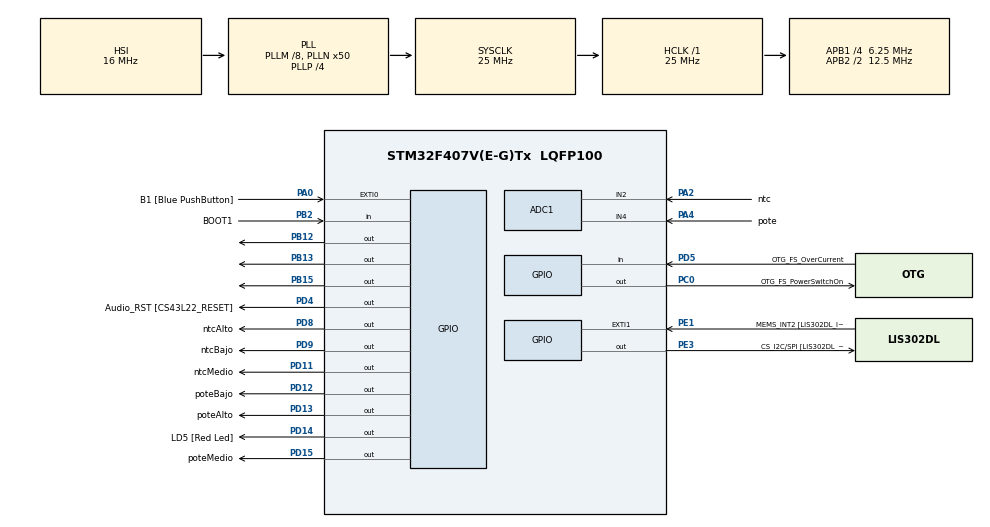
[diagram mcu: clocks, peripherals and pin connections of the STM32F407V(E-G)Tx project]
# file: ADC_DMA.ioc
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ADC1.Channel-0\#ChannelRegularConversion=ADC_CHANNEL_2
ADC1.Channel-1\#ChannelRegularConversion=ADC_CHANNEL_4
ADC1.ClockPrescaler=ADC_CLOCK_SYNC_PCLK_DIV8
ADC1.ContinuousConvMode=ENABLE
ADC1.DMAContinuousRequests=ENABLE
ADC1.EOCSelection=ADC_EOC_SEQ_CONV
ADC1.NbrOfConversion=2
ADC1.NbrOfConversionFlag=1
ADC1.Rank-0\#ChannelRegularConversion=1
ADC1.Rank-1\#ChannelRegularConversion=2
ADC1.SamplingTime-0\#ChannelRegularConversion=ADC_SAMPLETIME_112CYCLES
ADC1.SamplingTime-1\#ChannelRegularConversion=ADC_SAMPLETIME_112CYCLES
ADC1.ScanConvMode=ENABLE
ADC1.master=1
Dma.ADC1.0.Direction=DMA_PERIPH_TO_MEMORY
Dma.ADC1.0.FIFOMode=DMA_FIFOMODE_DISABLE
Dma.ADC1.0.Instance=DMA2_Stream0
Dma.ADC1.0.MemDataAlignment=DMA_MDATAALIGN_HALFWORD
Dma.ADC1.0.MemInc=DMA_MINC_ENABLE
Dma.ADC1.0.Mode=DMA_CIRCULAR
Dma.ADC1.0.PeriphDataAlignment=DMA_PDATAALIGN_HALFWORD
Dma.ADC1.0.PeriphInc=DMA_PINC_DISABLE
Dma.ADC1.0.Priority=DMA_PRIORITY_LOW
Dma.Request0=ADC1
Mcu.Family=STM32F4
Mcu.Name=STM32F407V(E-G)Tx
Mcu.Package=LQFP100
NVIC.DMA2_Stream0_IRQn=true\:0\:0\:false\:false\:true\:false\:true\:true
NVIC.PriorityGroup=NVIC_PRIORITYGROUP_4
PA0-WKUP.GPIO_Label=B1 [Blue PushButton]
PA0-WKUP.Signal=GPXTI0
PA10.GPIO_Label=OTG_FS_ID
PA10.GPIO_Mode=GPIO_MODE_AF_PP
PA10.GPIO_PuPd=GPIO_NOPULL
PA10.GPIO_Speed=GPIO_SPEED_FREQ_LOW
PA10.Signal=USB_OTG_FS_ID
PA11.GPIO_Label=OTG_FS_DM
PA11.GPIO_Mode=GPIO_MODE_AF_PP
PA11.GPIO_PuPd=GPIO_NOPULL
PA11.GPIO_Speed=GPIO_SPEED_FREQ_LOW
PA11.Signal=USB_OTG_FS_DM
PA12.GPIO_Label=OTG_FS_DP
PA12.GPIO_Mode=GPIO_MODE_AF_PP
PA12.GPIO_PuPd=GPIO_NOPULL
PA12.GPIO_Speed=GPIO_SPEED_FREQ_LOW
PA12.Signal=USB_OTG_FS_DP
PA13.GPIO_Label=SWDIO
PA13.Signal=SYS_JTMS-SWDIO
PA14.GPIO_Label=SWCLK
PA14.Signal=SYS_JTCK-SWCLK
PA2.GPIO_Label=ntc
PA2.Signal=ADCx_IN2
PA4.GPIO_Label=pote
PA4.Signal=ADCx_IN4
PA5.GPIO_Label=SPI1_SCK [LIS302DL_SCL/SPC]
PA5.GPIO_Mode=GPIO_MODE_AF_PP
PA5.GPIO_PuPd=GPIO_NOPULL
PA5.GPIO_Speed=GPIO_SPEED_FREQ_LOW
PA5.Signal=SPI1_SCK
PA6.GPIO_Label=SPI1_MISO [LIS302DL_SDO]
PA6.GPIO_Mode=GPIO_MODE_AF_PP
PA6.GPIO_PuPd=GPIO_NOPULL
PA6.GPIO_Speed=GPIO_SPEED_FREQ_LOW
PA6.Signal=SPI1_MISO
PA7.GPIO_Label=SPI1_MOSI [LIS302DL_SDA/SDI/SDO]
PA7.GPIO_Mode=GPIO_MODE_AF_PP
PA7.GPIO_PuPd=GPIO_NOPULL
PA7.GPIO_Speed=GPIO_SPEED_FREQ_LOW
PA7.Signal=SPI1_MOSI
PA9.GPIO_Label=VBUS_FS
PA9.GPIO_Mode=GPIO_MODE_INPUT
PA9.GPIO_PuPd=GPIO_NOPULL
PA9.Signal=USB_OTG_FS_VBUS
PB10.GPIO_Label=CLK_IN [MP45DT02_CLK]
PB10.GPIO_Mode=GPIO_MODE_AF_PP
PB10.GPIO_PuPd=GPIO_NOPULL
PB10.GPIO_Speed=GPIO_SPEED_FREQ_LOW
PB10.Signal=I2S2_CK
PB12.Signal=GPIO_Output
PB13.Signal=GPIO_Output
PB15.Signal=GPIO_Output
PB2.GPIO_Label=BOOT1
PB2.GPIO_Mode=GPIO_MODE_INPUT
PB2.GPIO_PuPd=GPIO_NOPULL
PB2.Signal=GPIO_Input
PB3.GPIO_Label=SWO
PB3.Signal=SYS_JTDO-SWO
PB6.GPIO_Label=Audio_SCL [CS43L22_SCL]
PB6.GPIO_Mode=GPIO_MODE_AF_OD
PB6.GPIO_PuPd=GPIO_NOPULL
PB6.GPIO_Speed=GPIO_SPEED_FREQ_LOW
PB6.Signal=I2C1_SCL
PB9.GPIO_Label=Audio_SDA [CS43L22_SDA]
PB9.GPIO_Mode=GPIO_MODE_AF_OD
PB9.GPIO_PuPd=GPIO_NOPULL
PB9.GPIO_Speed=GPIO_SPEED_FREQ_LOW
PB9.Signal=I2C1_SDA
PC0.GPIO_Label=OTG_FS_PowerSwitchOn
PC0.GPIO_PuPd=GPIO_NOPULL
PC0.GPIO_Speed=GPIO_SPEED_FREQ_LOW
PC0.PinState=GPIO_PIN_SET
PC0.Signal=GPIO_Output
PC10.GPIO_Label=I2S3_SCK [CS43L22_SCLK]
PC10.GPIO_Mode=GPIO_MODE_AF_PP
PC10.GPIO_PuPd=GPIO_NOPULL
PC10.GPIO_Speed=GPIO_SPEED_FREQ_LOW
PC10.Signal=I2S3_CK
PC12.GPIO_Label=I2S3_SD [CS43L22_SDIN]
PC12.GPIO_Mode=GPIO_MODE_AF_PP
PC12.GPIO_PuPd=GPIO_NOPULL
PC12.GPIO_Speed=GPIO_SPEED_FREQ_LOW
PC12.Signal=I2S3_SD
PC14-OSC32_IN.GPIO_Label=PC14-OSC32_IN
PC14-OSC32_IN.Signal=RCC_OSC32_IN
PC15-OSC32_OUT.GPIO_Label=PC15-OSC32_OUT
PC15-OSC32_OUT.Signal=RCC_OSC32_OUT
PC3.GPIO_Label=PDM_OUT [MP45DT02_DOUT]
PC3.GPIO_Mode=GPIO_MODE_AF_PP
PC3.GPIO_PuPd=GPIO_NOPULL
PC3.GPIO_Speed=GPIO_SPEED_FREQ_LOW
PC3.Signal=I2S2_SD
PC7.GPIO_Label=I2S3_MCK [CS43L22_MCLK]
PC7.GPIO_Mode=GPIO_MODE_AF_PP
PC7.GPIO_PuPd=GPIO_NOPULL
PC7.GPIO_Speed=GPIO_SPEED_FREQ_LOW
PC7.Signal=I2S3_MCK
PD11.GPIO_Label=ntcMedio
PD11.Signal=GPIO_Output
PD12.GPIO_Label=poteBajo
PD12.GPIO_PuPd=GPIO_NOPULL
PD12.GPIO_Speed=GPIO_SPEED_FREQ_LOW
PD12.Signal=GPIO_Output
PD13.GPIO_Label=poteAlto
PD13.GPIO_PuPd=GPIO_NOPULL
PD13.GPIO_Speed=GPIO_SPEED_FREQ_LOW
PD13.Signal=GPIO_Output
PD14.GPIO_Label=LD5 [Red Led]
PD14.GPIO_PuPd=GPIO_NOPULL
PD14.GPIO_Speed=GPIO_SPEED_FREQ_LOW
PD14.Signal=GPIO_Output
PD15.GPIO_Label=poteMedio
PD15.GPIO_PuPd=GPIO_NOPULL
PD15.GPIO_Speed=GPIO_SPEED_FREQ_LOW
PD15.Signal=GPIO_Output
PD4.GPIO_Label=Audio_RST [CS43L22_RESET]
PD4.GPIO_PuPd=GPIO_NOPULL
PD4.GPIO_Speed=GPIO_SPEED_FREQ_LOW
PD4.Signal=GPIO_Output
PD5.GPIO_Label=OTG_FS_OverCurrent
PD5.GPIO_Mode=GPIO_MODE_INPUT
PD5.GPIO_PuPd=GPIO_NOPULL
PD5.Signal=GPIO_Input
PD8.GPIO_Label=ntcAlto
PD8.Signal=GPIO_Output
PD9.GPIO_Label=ntcBajo
PD9.Signal=GPIO_Output
PE1.GPIO_Label=MEMS_INT2 [LIS302DL_INT2]
PE1.GPIO_ModeDefaultEXTI=GPIO_MODE_EVT_RISING
PE1.GPIO_PuPd=GPIO_NOPULL
PE1.Signal=GPXTI1
PE3.GPIO_Label=CS_I2C/SPI [LIS302DL_CS_I2C/SPI]
PE3.GPIO_PuPd=GPIO_NOPULL
PE3.GPIO_Speed=GPIO_SPEED_FREQ_LOW
PE3.Signal=GPIO_Output
PH0-OSC_IN.GPIO_Label=PH0-OSC_IN
PH0-OSC_IN.Signal=RCC_OSC_IN
PH1-OSC_OUT.GPIO_Label=PH1-OSC_OUT
PH1-OSC_OUT.Signal=RCC_OSC_OUT
ProjectManager.HeapSize=0x200
ProjectManager.StackSize=0x400
ProjectManager.TargetToolchain=STM32CubeIDE
RCC.48MHZClocksFreq_Value=14285714.285714285
RCC.AHBFreq_Value=25000000
RCC.APB1CLKDivider=RCC_HCLK_DIV4
RCC.APB1Freq_Value=6250000
RCC.APB1TimFreq_Value=12500000
RCC.APB2CLKDivider=RCC_HCLK_DIV2
RCC.APB2Freq_Value=12500000
RCC.APB2TimFreq_Value=25000000
RCC.CortexFreq_Value=25000000
RCC.HCLKFreq_Value=25000000
RCC.HSE_VALUE=8000000
RCC.HSI_VALUE=16000000
RCC.LSE_VALUE=32768
RCC.PLLM=8
RCC.PLLN=50
RCC.PLLP=RCC_PLLP_DIV4
RCC.PLLQ=7
RCC.SYSCLKFreq_VALUE=25000000
RCC.SYSCLKSource=RCC_SYSCLKSOURCE_PLLCLK
RCC.VCOOutputFreq_Value=100000000
SH.ADCx_IN2.0=ADC1_IN2,IN2
SH.ADCx_IN4.0=ADC1_IN4,IN4
board=STM32F407G-DISC1

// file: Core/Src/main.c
/* USER CODE BEGIN Header */
/**
  ******************************************************************************
  * @file           : main.c
  * @brief          : Main program body
  ******************************************************************************
  * @attention
  *
  * Copyright (c) 2025 STMicroelectronics.
  * All rights reserved.
  *
  * This software is licensed under terms that can be found in the LICENSE file
  * in the root directory of this software component.
  * If no LICENSE file comes with this software, it is provided AS-IS.
  *
  ******************************************************************************
  */
/* USER CODE END Header */
#include "main.h"

/* USER CODE BEGIN PD */
/* Private defines -----------------------------------------------------------*/
#define ntc_Pin GPIO_PIN_2
#define ntc_GPIO_Port GPIOA
#define pot_Pin GPIO_PIN_4

#define pot_GPIO_Port GPIOA
#define ntcAlto_Pin GPIO_PIN_8
#define ntcAlto_GPIO_Port GPIOD
#define ntcBajo_Pin GPIO_PIN_9
#define ntcBajo_GPIO_Port GPIOD
#define ntcMedio_Pin GPIO_PIN_11
#define ntcMedio_GPIO_Port GPIOD
#define potBajo_Pin GPIO_PIN_12
#define potBajo_GPIO_Port GPIOD
#define potAlto_Pin GPIO_PIN_13
#define potAlto_GPIO_Port GPIOD
#define potMedio_Pin GPIO_PIN_15
#define potMedio_GPIO_Port GPIOD

// Tiempo en ms que permanecen encendidas las luces al iniciar el sistema
#define TENCENDIDO 2000
// Tiempo en ms que permanecen apagadas las luces antes iniciar las transiciones
#define TAPAGADO 2000

// CAMBIAMOS ESTO
// Nivel umbral entre los rango bajo y medio de las lecturas del termistor NTC
//#define NTC_INFERIOR 3600
// Nivel umbral entre los rango medio y alto de las lecturas del termistor NTC
//#define NTC_SUPERIOR 3500
// Nivel umbral entre los rango bajo y medio de las lecturas del potenciómetro
//#define POT_INFERIOR 1366
// Nivel umbral entre los rango medio y alto de las lecturas del potenciómetro
//#define POT_SUPERIOR 2730
//

// -----------------------------ZONAS DE CAMBIO------------------------------*/
// Defino zonas de cambio

// NTC
#define NTC_INF_INF 3615
#define NTC_INF_SUP 3585

#define NTC_SUP_INF 3515
#define NTC_SUP_SUP 3485

// POTE
#define POT_INF_INF 1350
#define POT_INF_SUP 1382

#define POT_SUP_INF 2715
#define POT_SUP_SUP 2745

// Cantidad de canales que se muestrean
#define CANALES 2
// Cantidad de muestras a promediar por canal
#define MUESTRAS 16
// Tamaño mínimo requerido de buffer
#define BUFFER_MINIMO (MUESTRAS * CANALES)
// Cantidad de buffers mínimos que se emplean
#define CANTIDAD_BUFFER_MINIMO 2
// Tamaño del buffer a imlementar
#define BUFFER_TOTAL (CANTIDAD_BUFFER_MINIMO * BUFFER_MINIMO)

/* USER CODE END PD */

ADC_HandleTypeDef hadc1;
DMA_HandleTypeDef hdma_adc1;

// GLOBALES
// Buffer para almacenar las muestras
uint16_t dma_buffer[BUFFER_TOTAL];
// Valor promedio de las muestras del termistor NTC
volatile uint16_t ntc_avg;
// Valor promedio de las muestras del potenciometro
volatile uint16_t pot_avg;

void SystemClock_Config(void);
static void MX_GPIO_Init(void);
static void MX_DMA_Init(void);
static void MX_ADC1_Init(void);

/* USER CODE BEGIN PFP */

void inicio(void); // Prueba e inicialización del sistema
void apagarTodos(void); // Apaga todos los LED
void encenderTodos(void); // Enciende todos los LED
void promediar(uint16_t *buffer); // Calcula el promedio de las muestras
void mostrarNtc(void); // Maneja los LED indicadores para el termistor NTC
void mostrarPot(void); // Maneja los LED indicadores para el potenciómetro
void mostrar(void); // Maneja los LED indicadores de rangos

/* USER CODE END PFP */

int main(void)
{

  /* MCU Configuration--------------------------------------------------------*/

  /* Reset of all peripherals, Initializes the Flash interface and the Systick. */
  HAL_Init();

  /* Configure the system clock */
  SystemClock_Config();

  /* Initialize all configured peripherals */
  MX_GPIO_Init();
  MX_DMA_Init();
  MX_ADC1_Init();

  // -----------------------------INICIALIZACION DE PLACA------------------------------*/
  /* USER CODE BEGIN 2 */

  inicio(); // Probamos los LED e Inicializamos
  HAL_GPIO_WritePin(potMedio_GPIO_Port, potMedio_Pin, GPIO_PIN_SET);
  HAL_GPIO_WritePin(ntcMedio_GPIO_Port, ntcMedio_Pin, GPIO_PIN_SET);

  /* USER CODE END 2 */

  /* Infinite loop */
  while (1)
  {

    /* USER CODE BEGIN 3 */

	// Gestionamos los LED acorde a los valores promedio obtenidos
	mostrar();

  }
  /* USER CODE END 3 */
}

// -----------------------------END MAIN CODE------------------------------*/

void SystemClock_Config(void)
{
  RCC_OscInitTypeDef RCC_OscInitStruct = {0};
  RCC_ClkInitTypeDef RCC_ClkInitStruct = {0};

  /** Configure the main internal regulator output voltage
  */
  __HAL_RCC_PWR_CLK_ENABLE();
  __HAL_PWR_VOLTAGESCALING_CONFIG(PWR_REGULATOR_VOLTAGE_SCALE1);

  /** Initializes the RCC Oscillators according to the specified parameters
  * in the RCC_OscInitTypeDef structure.
  */
  RCC_OscInitStruct.OscillatorType = RCC_OSCILLATORTYPE_HSI;
  RCC_OscInitStruct.HSIState = RCC_HSI_ON;
  RCC_OscInitStruct.HSICalibrationValue = RCC_HSICALIBRATION_DEFAULT;
  RCC_OscInitStruct.PLL.PLLState = RCC_PLL_ON;
  RCC_OscInitStruct.PLL.PLLSource = RCC_PLLSOURCE_HSI;
  RCC_OscInitStruct.PLL.PLLM = 8;
  RCC_OscInitStruct.PLL.PLLN = 50;
  RCC_OscInitStruct.PLL.PLLP = RCC_PLLP_DIV4;
  RCC_OscInitStruct.PLL.PLLQ = 7;
  if (HAL_RCC_OscConfig(&RCC_OscInitStruct) != HAL_OK)
  {
    Error_Handler();
  }

  /** Initializes the CPU, AHB and APB buses clocks
  */
  RCC_ClkInitStruct.ClockType = RCC_CLOCKTYPE_HCLK|RCC_CLOCKTYPE_SYSCLK
                              |RCC_CLOCKTYPE_PCLK1|RCC_CLOCKTYPE_PCLK2;
  RCC_ClkInitStruct.SYSCLKSource = RCC_SYSCLKSOURCE_PLLCLK;
  RCC_ClkInitStruct.AHBCLKDivider = RCC_SYSCLK_DIV1;
  RCC_ClkInitStruct.APB1CLKDivider = RCC_HCLK_DIV4;
  RCC_ClkInitStruct.APB2CLKDivider = RCC_HCLK_DIV2;

  if (HAL_RCC_ClockConfig(&RCC_ClkInitStruct, FLASH_LATENCY_0) != HAL_OK)
  {
    Error_Handler();
  }
}

static void MX_ADC1_Init(void)
{

  ADC_ChannelConfTypeDef sConfig = {0};

  /** Configure the global features of the ADC (Clock, Resolution, Data Alignment and number of conversion)
  */
  hadc1.Instance = ADC1;
  hadc1.Init.ClockPrescaler = ADC_CLOCK_SYNC_PCLK_DIV8;
  hadc1.Init.Resolution = ADC_RESOLUTION_12B;
  hadc1.Init.ScanConvMode = ENABLE;
  hadc1.Init.ContinuousConvMode = ENABLE;
  hadc1.Init.DiscontinuousConvMode = DISABLE;
  hadc1.Init.ExternalTrigConvEdge = ADC_EXTERNALTRIGCONVEDGE_NONE;
  hadc1.Init.ExternalTrigConv = ADC_SOFTWARE_START;
  hadc1.Init.DataAlign = ADC_DATAALIGN_RIGHT;
  hadc1.Init.NbrOfConversion = 2;
  hadc1.Init.DMAContinuousRequests = ENABLE;
  hadc1.Init.EOCSelection = ADC_EOC_SEQ_CONV;
  if (HAL_ADC_Init(&hadc1) != HAL_OK)
  {
    Error_Handler();
  }

  /** Configure for the selected ADC regular channel its corresponding rank in the sequencer and its sample time.
  */
  sConfig.Channel = ADC_CHANNEL_2;
  sConfig.Rank = 1;
  sConfig.SamplingTime = ADC_SAMPLETIME_112CYCLES;
  if (HAL_ADC_ConfigChannel(&hadc1, &sConfig) != HAL_OK)
  {
    Error_Handler();
  }

  /** Configure for the selected ADC regular channel its corresponding rank in the sequencer and its sample time.
  */
  sConfig.Channel = ADC_CHANNEL_4;
  sConfig.Rank = 2;
  if (HAL_ADC_ConfigChannel(&hadc1, &sConfig) != HAL_OK)
  {
    Error_Handler();
  }

}

static void MX_DMA_Init(void)
{

  /* DMA controller clock enable */
  __HAL_RCC_DMA2_CLK_ENABLE();

  /* DMA interrupt init */
  /* DMA2_Stream0_IRQn interrupt configuration */
  HAL_NVIC_SetPriority(DMA2_Stream0_IRQn, 0, 0);
  HAL_NVIC_EnableIRQ(DMA2_Stream0_IRQn);

}

static void MX_GPIO_Init(void)
{
  GPIO_InitTypeDef GPIO_InitStruct = {0};

  /* GPIO Ports Clock Enable */
  __HAL_RCC_GPIOE_CLK_ENABLE();
  __HAL_RCC_GPIOC_CLK_ENABLE();
  __HAL_RCC_GPIOH_CLK_ENABLE();
  __HAL_RCC_GPIOA_CLK_ENABLE();
  __HAL_RCC_GPIOB_CLK_ENABLE();
  __HAL_RCC_GPIOD_CLK_ENABLE();

  /*Configure GPIO pin Output Level */
  HAL_GPIO_WritePin(CS_I2C_SPI_GPIO_Port, CS_I2C_SPI_Pin, GPIO_PIN_RESET);

  /*Configure GPIO pin Output Level */
  HAL_GPIO_WritePin(OTG_FS_PowerSwitchOn_GPIO_Port, OTG_FS_PowerSwitchOn_Pin, GPIO_PIN_SET);

  /*Configure GPIO pin Output Level */
  HAL_GPIO_WritePin(GPIOB, GPIO_PIN_12|GPIO_PIN_13|GPIO_PIN_15, GPIO_PIN_RESET);

  /*Configure GPIO pin Output Level */
  HAL_GPIO_WritePin(GPIOD, ntcAlto_Pin|ntcBajo_Pin|ntcMedio_Pin|poteBajo_Pin
                          |poteAlto_Pin|LD5_Pin|poteMedio_Pin|Audio_RST_Pin, GPIO_PIN_RESET);

  /*Configure GPIO pin : CS_I2C_SPI_Pin */
  GPIO_InitStruct.Pin = CS_I2C_SPI_Pin;
  GPIO_InitStruct.Mode = GPIO_MODE_OUTPUT_PP;
  GPIO_InitStruct.Pull = GPIO_NOPULL;
  GPIO_InitStruct.Speed = GPIO_SPEED_FREQ_LOW;
  HAL_GPIO_Init(CS_I2C_SPI_GPIO_Port, &GPIO_InitStruct);

  /*Configure GPIO pin : OTG_FS_PowerSwitchOn_Pin */
  GPIO_InitStruct.Pin = OTG_FS_PowerSwitchOn_Pin;
  GPIO_InitStruct.Mode = GPIO_MODE_OUTPUT_PP;
  GPIO_InitStruct.Pull = GPIO_NOPULL;
  GPIO_InitStruct.Speed = GPIO_SPEED_FREQ_LOW;
  HAL_GPIO_Init(OTG_FS_PowerSwitchOn_GPIO_Port, &GPIO_InitStruct);

  /*Configure GPIO pin : PDM_OUT_Pin */
  GPIO_InitStruct.Pin = PDM_OUT_Pin;
  GPIO_InitStruct.Mode = GPIO_MODE_AF_PP;
  GPIO_InitStruct.Pull = GPIO_NOPULL;
  GPIO_InitStruct.Speed = GPIO_SPEED_FREQ_LOW;
  GPIO_InitStruct.Alternate = GPIO_AF5_SPI2;
  HAL_GPIO_Init(PDM_OUT_GPIO_Port, &GPIO_InitStruct);

  /*Configure GPIO pin : B1_Pin */
  GPIO_InitStruct.Pin = B1_Pin;
  GPIO_InitStruct.Mode = GPIO_MODE_IT_RISING;
  GPIO_InitStruct.Pull = GPIO_NOPULL;
  HAL_GPIO_Init(B1_GPIO_Port, &GPIO_InitStruct);

  /*Configure GPIO pins : SPI1_SCK_Pin SPI1_MISO_Pin SPI1_MOSI_Pin */
  GPIO_InitStruct.Pin = SPI1_SCK_Pin|SPI1_MISO_Pin|SPI1_MOSI_Pin;
  GPIO_InitStruct.Mode = GPIO_MODE_AF_PP;
  GPIO_InitStruct.Pull = GPIO_NOPULL;
  GPIO_InitStruct.Speed = GPIO_SPEED_FREQ_LOW;
  GPIO_InitStruct.Alternate = GPIO_AF5_SPI1;
  HAL_GPIO_Init(GPIOA, &GPIO_InitStruct);

  /*Configure GPIO pin : BOOT1_Pin */
  GPIO_InitStruct.Pin = BOOT1_Pin;
  GPIO_InitStruct.Mode = GPIO_MODE_INPUT;
  GPIO_InitStruct.Pull = GPIO_NOPULL;
  HAL_GPIO_Init(BOOT1_GPIO_Port, &GPIO_InitStruct);

  /*Configure GPIO pin : CLK_IN_Pin */
  GPIO_InitStruct.Pin = CLK_IN_Pin;
  GPIO_InitStruct.Mode = GPIO_MODE_AF_PP;
  GPIO_InitStruct.Pull = GPIO_NOPULL;
  GPIO_InitStruct.Speed = GPIO_SPEED_FREQ_LOW;
  GPIO_InitStruct.Alternate = GPIO_AF5_SPI2;
  HAL_GPIO_Init(CLK_IN_GPIO_Port, &GPIO_InitStruct);

  /*Configure GPIO pins : PB12 PB13 PB15 */
  GPIO_InitStruct.Pin = GPIO_PIN_12|GPIO_PIN_13|GPIO_PIN_15;
  GPIO_InitStruct.Mode = GPIO_MODE_OUTPUT_PP;
  GPIO_InitStruct.Pull = GPIO_NOPULL;
  GPIO_InitStruct.Speed = GPIO_SPEED_FREQ_LOW;
  HAL_GPIO_Init(GPIOB, &GPIO_InitStruct);

  /*Configure GPIO pins : ntcAlto_Pin ntcBajo_Pin ntcMedio_Pin poteBajo_Pin
                           poteAlto_Pin LD5_Pin poteMedio_Pin Audio_RST_Pin */
  GPIO_InitStruct.Pin = ntcAlto_Pin|ntcBajo_Pin|ntcMedio_Pin|poteBajo_Pin
                          |poteAlto_Pin|LD5_Pin|poteMedio_Pin|Audio_RST_Pin;
  GPIO_InitStruct.Mode = GPIO_MODE_OUTPUT_PP;
  GPIO_InitStruct.Pull = GPIO_NOPULL;
  GPIO_InitStruct.Speed = GPIO_SPEED_FREQ_LOW;
  HAL_GPIO_Init(GPIOD, &GPIO_InitStruct);

  /*Configure GPIO pins : I2S3_MCK_Pin I2S3_SCK_Pin I2S3_SD_Pin */
  GPIO_InitStruct.Pin = I2S3_MCK_Pin|I2S3_SCK_Pin|I2S3_SD_Pin;
  GPIO_InitStruct.Mode = GPIO_MODE_AF_PP;
  GPIO_InitStruct.Pull = GPIO_NOPULL;
  GPIO_InitStruct.Speed = GPIO_SPEED_FREQ_LOW;
  GPIO_InitStruct.Alternate = GPIO_AF6_SPI3;
  HAL_GPIO_Init(GPIOC, &GPIO_InitStruct);

  /*Configure GPIO pin : VBUS_FS_Pin */
  GPIO_InitStruct.Pin = VBUS_FS_Pin;
  GPIO_InitStruct.Mode = GPIO_MODE_INPUT;
  GPIO_InitStruct.Pull = GPIO_NOPULL;
  HAL_GPIO_Init(VBUS_FS_GPIO_Port, &GPIO_InitStruct);

  /*Configure GPIO pins : OTG_FS_ID_Pin OTG_FS_DM_Pin OTG_FS_DP_Pin */
  GPIO_InitStruct.Pin = OTG_FS_ID_Pin|OTG_FS_DM_Pin|OTG_FS_DP_Pin;
  GPIO_InitStruct.Mode = GPIO_MODE_AF_PP;
  GPIO_InitStruct.Pull = GPIO_NOPULL;
  GPIO_InitStruct.Speed = GPIO_SPEED_FREQ_LOW;
  GPIO_InitStruct.Alternate = GPIO_AF10_OTG_FS;
  HAL_GPIO_Init(GPIOA, &GPIO_InitStruct);

  /*Configure GPIO pin : OTG_FS_OverCurrent_Pin */
  GPIO_InitStruct.Pin = OTG_FS_OverCurrent_Pin;
  GPIO_InitStruct.Mode = GPIO_MODE_INPUT;
  GPIO_InitStruct.Pull = GPIO_NOPULL;
  HAL_GPIO_Init(OTG_FS_OverCurrent_GPIO_Port, &GPIO_InitStruct);

  /*Configure GPIO pins : Audio_SCL_Pin Audio_SDA_Pin */
  GPIO_InitStruct.Pin = Audio_SCL_Pin|Audio_SDA_Pin;
  GPIO_InitStruct.Mode = GPIO_MODE_AF_OD;
  GPIO_InitStruct.Pull = GPIO_NOPULL;
  GPIO_InitStruct.Speed = GPIO_SPEED_FREQ_LOW;
  GPIO_InitStruct.Alternate = GPIO_AF4_I2C1;
  HAL_GPIO_Init(GPIOB, &GPIO_InitStruct);

  /*Configure GPIO pin : MEMS_INT2_Pin */
  GPIO_InitStruct.Pin = MEMS_INT2_Pin;
  GPIO_InitStruct.Mode = GPIO_MODE_EVT_RISING;
  GPIO_InitStruct.Pull = GPIO_NOPULL;
  HAL_GPIO_Init(MEMS_INT2_GPIO_Port, &GPIO_InitStruct);

}

// -----------------------------DEFINICION DE FUNCIONES------------------------------*/
/* USER CODE BEGIN 4 */

// Rutina de antención a la interrupción de buffer a mitad
void HAL_ADC_ConvHalfCpltCallback(ADC_HandleTypeDef *hadc) {
// Promediamos la primera mitad del buffer (el primer bloque de tamaño mínimo)
promediar(&dma_buffer[0]);
}
// Rutina de antención a la interrupción de buffer a tope
void HAL_ADC_ConvCpltCallback(ADC_HandleTypeDef *hadc) {
// Promediamos la segunda mitad del buffer (el segundo bloque de tamaño mínimo)
promediar(&dma_buffer[BUFFER_MINIMO]);
}
// Prueba e inicialización del sistema
void inicio(void){
// Encendemos todos los LED y esperamos un tiempo
encenderTodos();
HAL_Delay(TENCENDIDO);
// Apagamos todos los LED y esperamos un tiempo
apagarTodos();
HAL_Delay(TAPAGADO);
// Iniciamos las conversiones
HAL_ADC_Start_DMA(&hadc1, (uint32_t*) dma_buffer, BUFFER_TOTAL);
}
// Apaga todos los LED
void apagarTodos(void){
HAL_GPIO_WritePin( ntcBajo_GPIO_Port, ntcBajo_Pin, GPIO_PIN_RESET); // Verde A
HAL_GPIO_WritePin(ntcMedio_GPIO_Port, ntcMedio_Pin, GPIO_PIN_RESET); // Amarillo A
HAL_GPIO_WritePin( ntcAlto_GPIO_Port, ntcAlto_Pin, GPIO_PIN_RESET); // Rojo A

HAL_GPIO_WritePin( potBajo_GPIO_Port, potBajo_Pin, GPIO_PIN_RESET); // Verde B
HAL_GPIO_WritePin(potMedio_GPIO_Port, potMedio_Pin, GPIO_PIN_RESET); // Amarillo B
HAL_GPIO_WritePin( potAlto_GPIO_Port, potAlto_Pin, GPIO_PIN_RESET); // Rojo B
}
// Enciende todos los LED
void encenderTodos(void){
HAL_GPIO_WritePin( ntcBajo_GPIO_Port, ntcBajo_Pin, GPIO_PIN_SET); // Verde A
HAL_GPIO_WritePin(ntcMedio_GPIO_Port, ntcMedio_Pin, GPIO_PIN_SET); // Amarillo A
HAL_GPIO_WritePin( ntcAlto_GPIO_Port, ntcAlto_Pin, GPIO_PIN_SET); // Rojo A
HAL_GPIO_WritePin( potBajo_GPIO_Port, potBajo_Pin, GPIO_PIN_SET); // Verde B
HAL_GPIO_WritePin(potMedio_GPIO_Port, potMedio_Pin, GPIO_PIN_SET); // Amarillo B
HAL_GPIO_WritePin( potAlto_GPIO_Port, potAlto_Pin, GPIO_PIN_SET); // Rojo B
}
// Calcula los promedios
void promediar(uint16_t *buffer) {
// Inicializamos variables para acumular la suma de las muestras
uint32_t ntc_sum = 0, pot_sum = 0;
// Ralizamos la suma incrementando el puntero a las muestras
for (int i = 0; i < MUESTRAS; ++i) {
ntc_sum += buffer[0];
pot_sum += buffer[1];
buffer += 2;
}
// Dividimos las sumas para obtener el promedio
ntc_avg = ntc_sum / MUESTRAS;
pot_avg = pot_sum / MUESTRAS;
}

// -----------------------------CAMBIO CORRECIÓN POR HISTÉRESIS------------------------------*/

// NTC

// Maneja los LED de rango para el termistor NTC
void mostrarNtc(void){

// De Amarillo a Verde
if ( (NTC_INF_INF < ntc_avg) && HAL_GPIO_ReadPin(ntcMedio_GPIO_Port, ntcMedio_Pin)==1 ) {
HAL_GPIO_WritePin( ntcBajo_GPIO_Port, ntcBajo_Pin, GPIO_PIN_SET);
HAL_GPIO_WritePin( ntcMedio_GPIO_Port, ntcMedio_Pin, GPIO_PIN_RESET);
HAL_GPIO_WritePin( ntcAlto_GPIO_Port, ntcAlto_Pin, GPIO_PIN_RESET);
}

// De Amarillo a Rojo
else if ( (NTC_SUP_SUP > ntc_avg) && HAL_GPIO_ReadPin(ntcMedio_GPIO_Port, ntcMedio_Pin)==1 ) {
HAL_GPIO_WritePin( ntcBajo_GPIO_Port, ntcBajo_Pin, GPIO_PIN_RESET);
HAL_GPIO_WritePin( ntcMedio_GPIO_Port, ntcMedio_Pin, GPIO_PIN_RESET);
HAL_GPIO_WritePin( ntcAlto_GPIO_Port, ntcAlto_Pin, GPIO_PIN_SET);
}

// De Verde a Amarillo
else if ( (NTC_INF_SUP > ntc_avg) && HAL_GPIO_ReadPin(ntcBajo_GPIO_Port, ntcBajo_Pin)==1 ) {
HAL_GPIO_WritePin( ntcBajo_GPIO_Port, ntcBajo_Pin, GPIO_PIN_RESET);
HAL_GPIO_WritePin(ntcMedio_GPIO_Port, ntcMedio_Pin, GPIO_PIN_SET);
HAL_GPIO_WritePin( ntcAlto_GPIO_Port, ntcAlto_Pin, GPIO_PIN_RESET);
}

// De Rojo a Amarillo
else if ( (NTC_SUP_INF < ntc_avg) && HAL_GPIO_ReadPin(ntcAlto_GPIO_Port, ntcAlto_Pin)==1 ) {
HAL_GPIO_WritePin( ntcBajo_GPIO_Port, ntcBajo_Pin, GPIO_PIN_RESET);
HAL_GPIO_WritePin(ntcMedio_GPIO_Port, ntcMedio_Pin, GPIO_PIN_SET);
HAL_GPIO_WritePin( ntcAlto_GPIO_Port, ntcAlto_Pin, GPIO_PIN_RESET);
}

}

// POTE

// Maneja los LED de rango para el potenciómetro
void mostrarPot(void){

// De Amarillo a Verde
if ( (POT_INF_INF > pot_avg) && HAL_GPIO_ReadPin(potMedio_GPIO_Port, potMedio_Pin)==1 ) {
HAL_GPIO_WritePin( potBajo_GPIO_Port, potBajo_Pin, GPIO_PIN_SET);
HAL_GPIO_WritePin(potMedio_GPIO_Port, potMedio_Pin, GPIO_PIN_RESET);
HAL_GPIO_WritePin( potAlto_GPIO_Port, potAlto_Pin, GPIO_PIN_RESET);
}

// De Amarillo a Rojo
else if ( (POT_SUP_SUP < pot_avg) && HAL_GPIO_ReadPin(potMedio_GPIO_Port, potMedio_Pin)==1 ) {
HAL_GPIO_WritePin( potBajo_GPIO_Port, potBajo_Pin, GPIO_PIN_RESET);
HAL_GPIO_WritePin(potMedio_GPIO_Port, potMedio_Pin, GPIO_PIN_RESET);
HAL_GPIO_WritePin( potAlto_GPIO_Port, potAlto_Pin, GPIO_PIN_SET);
}

// De Verde a Amarillo
else if ( (POT_INF_SUP < pot_avg) && HAL_GPIO_ReadPin(potBajo_GPIO_Port, potBajo_Pin)==1 ) {
HAL_GPIO_WritePin( potBajo_GPIO_Port, potBajo_Pin, GPIO_PIN_RESET);
HAL_GPIO_WritePin(potMedio_GPIO_Port, potMedio_Pin, GPIO_PIN_SET);
HAL_GPIO_WritePin( potAlto_GPIO_Port, potAlto_Pin, GPIO_PIN_RESET);
}

// De Rojo a Amarillo
else if ( (POT_SUP_INF > pot_avg) && HAL_GPIO_ReadPin(potAlto_GPIO_Port, potAlto_Pin)==1 ) {
HAL_GPIO_WritePin( potBajo_GPIO_Port, potBajo_Pin, GPIO_PIN_RESET);
HAL_GPIO_WritePin(potMedio_GPIO_Port, potMedio_Pin, GPIO_PIN_SET);
HAL_GPIO_WritePin( potAlto_GPIO_Port, potAlto_Pin, GPIO_PIN_RESET);
}

}
// Gestiona los LED indicadores de rangpo
void mostrar(void){
// Manejamos los LED indicadores de rango para cada variable
mostrarNtc(); // termisto NTC
mostrarPot(); // Potenciómetro
}

/* USER CODE END 4 */

void Error_Handler(void)
{
  __disable_irq();
  while (1)
  {
  }
}
